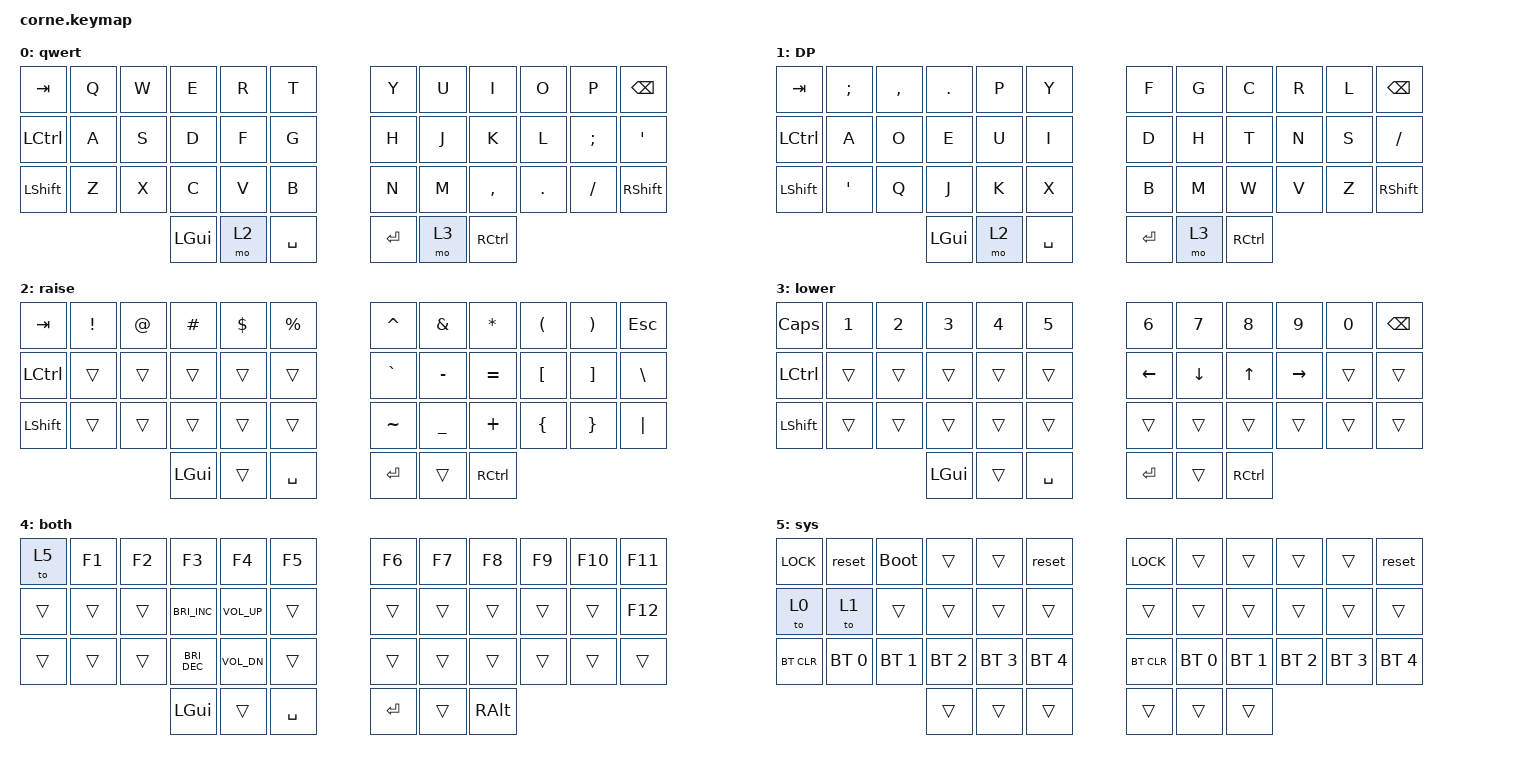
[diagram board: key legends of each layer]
/*
 * Copyright (c) 2020 The ZMK Contributors
 *
 * SPDX-License-Identifier: MIT
 */

#include <behaviors.dtsi>
#include <dt-bindings/zmk/keys.h>
#include <dt-bindings/zmk/bt.h>

// dt-formatter: indent = "  "
// dt-formatter: reindentMultilineIntegerCells = "dedent"

/ {
  behaviors {
    hm: homerow_mods {
      compatible = "zmk,behavior-hold-tap";
      label = "HOMEROW_MODS";
      #binding-cells = <2>;
      tapping-term-ms = <150>;
      quick-tap-ms = <0>;
      flavor = "tap-preferred";
      bindings =
        <&kp>,
        <&kp>;
    };
  };

  combos {
    compatible = "zmk,combos";

    m3 {
      bindings = <&mo 4>;
      key-positions = <37 40>;
    };

    lalt {
      bindings = <&kp LALT>;
      key-positions = <37 16>;
    };

    lgui_alt {
      bindings = <&kp LG(LALT)>;
      key-positions = <37 15>;
    };

    lgui {
      bindings = <&kp LGUI>;
      key-positions = <37 14>;
    };

    ralt {
      bindings = <&kp RALT>;
      key-positions = <40 19>;
    };

    rgui_alt {
      bindings = <&kp RG(RALT)>;
      key-positions = <40 20>;
    };

    rgui {
      bindings = <&kp RGUI>;
      key-positions = <40 21>;
    };

    ctrl_a {
      bindings = <&kp LC(A)>;
      key-positions = <37 13>;
    };

    rctrl {
      bindings = <&kp RCTRL>;
      key-positions = <40 22>;
    };

    lrs {
      bindings = <&reset>;
      key-positions = <0 1 37>;
    };

    lrb {
      bindings = <&bootloader>;
      key-positions = <37 1 2>;
    };

    rrs {
      bindings = <&reset>;
      key-positions = <10 40 11>;
    };

    rrb {
      bindings = <&bootloader>;
      key-positions = <10 9 40>;
    };

    ltsys {
      bindings = <&to 5>;
      key-positions = <37 5>;
    };

    rtsys {
      bindings = <&to 5>;
      key-positions = <40 6>;
    };
  };

  macros {
  };

  keymap {
    compatible = "zmk,keymap";

    qwert {
      bindings = <
  &kp TAB  &kp Q  &kp W     &kp E  &kp R      &kp T      &kp Y  &kp U      &kp I    &kp O     &kp P  &kp BACKSPACE
&kp LCTRL  &kp A  &kp S     &kp D  &kp F      &kp G      &kp H  &kp J      &kp K    &kp L  &kp SEMI        &kp SQT
&kp LSHFT  &kp Z  &kp X     &kp C  &kp V      &kp B      &kp N  &kp M  &kp COMMA  &kp DOT  &kp FSLH      &kp RSHFT
                         &kp LGUI  &mo 2  &kp SPACE    &kp RET  &mo 3  &kp RCTRL
      >;
    };

    DP {
      bindings = <
  &kp TAB  &kp SEMI  &kp COMMA   &kp DOT  &kp P      &kp Y        &kp F  &kp G      &kp C  &kp R  &kp L  &kp BACKSPACE
&kp LCTRL     &kp A      &kp O     &kp E  &kp U      &kp I        &kp D  &kp H      &kp T  &kp N  &kp S       &kp FSLH
&kp LSHFT  &kp APOS      &kp Q     &kp J  &kp K      &kp X        &kp B  &kp M      &kp W  &kp V  &kp Z     &kp RSHIFT
                                &kp LGUI  &mo 2  &kp SPACE    &kp ENTER  &mo 3  &kp RCTRL
      >;
    };

    raise {
      bindings = <
  &kp TAB  &kp EXCL  &kp AT  &kp HASH  &kp DOLLAR  &kp PERCENT    &kp CARET   &kp AMPS   &kp STAR  &kp LPAR  &kp RPAR   &kp ESC
&kp LCTRL    &trans  &trans    &trans      &trans       &trans    &kp GRAVE  &kp MINUS  &kp EQUAL  &kp LBKT  &kp RBKT  &kp BSLH
&kp LSHFT    &trans  &trans    &trans      &trans       &trans    &kp TILDE  &kp UNDER   &kp PLUS  &kp LBRC  &kp RBRC  &kp PIPE
                             &kp LGUI      &trans    &kp SPACE    &kp ENTER     &trans  &kp RCTRL
      >;
    };

    lower {
      bindings = <
  &kp CAPS  &kp N1  &kp N2    &kp N3  &kp N4     &kp N5       &kp N6    &kp N7     &kp N8     &kp N9  &kp N0  &kp BACKSPACE
 &kp LCTRL  &trans  &trans    &trans  &trans     &trans     &kp LEFT  &kp DOWN     &kp UP  &kp RIGHT  &trans         &trans
&kp LSHIFT  &trans  &trans    &trans  &trans     &trans       &trans    &trans     &trans     &trans  &trans         &trans
                            &kp LGUI  &trans  &kp SPACE    &kp ENTER    &trans  &kp RCTRL
      >;
    };

    both {
      bindings = <
 &to 5  &kp F1  &kp F2         &kp F3        &kp F4     &kp F5       &kp F6  &kp F7    &kp F8  &kp F9  &kp F10  &kp F11
&trans  &trans  &trans  &kp C_BRI_INC  &kp C_VOL_UP     &trans       &trans  &trans    &trans  &trans   &trans  &kp F12
&trans  &trans  &trans  &kp C_BRI_DEC  &kp C_VOL_DN     &trans       &trans  &trans    &trans  &trans   &trans   &trans
                             &kp LGUI        &trans  &kp SPACE    &kp ENTER  &trans  &kp RALT
      >;
    };

    sys {
      bindings = <
&kp K_LOCK        &reset   &bootloader        &trans        &trans        &reset    &kp K_LOCK        &trans        &trans        &trans        &trans        &reset
     &to 0         &to 1        &trans        &trans        &trans        &trans        &trans        &trans        &trans        &trans        &trans        &trans
&bt BT_CLR  &bt BT_SEL 0  &bt BT_SEL 1  &bt BT_SEL 2  &bt BT_SEL 3  &bt BT_SEL 4    &bt BT_CLR  &bt BT_SEL 0  &bt BT_SEL 1  &bt BT_SEL 2  &bt BT_SEL 3  &bt BT_SEL 4
                                              &trans        &trans        &trans        &trans        &trans        &trans
      >;
    };
  };
};
